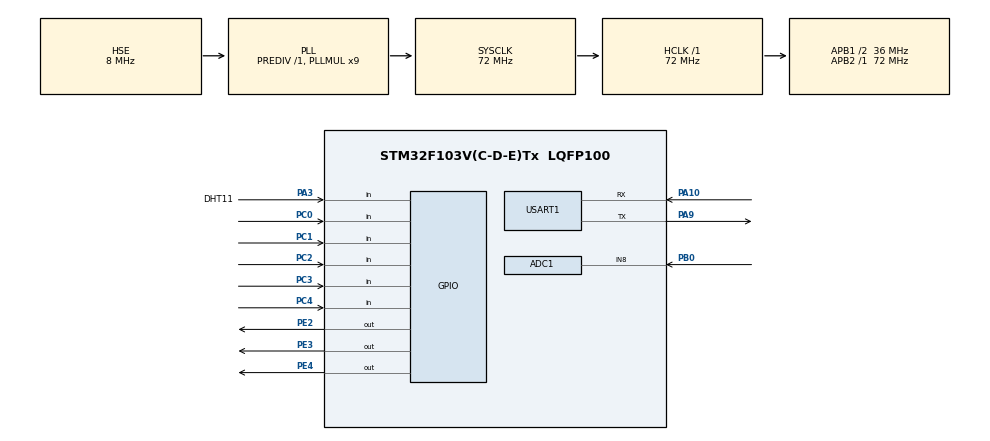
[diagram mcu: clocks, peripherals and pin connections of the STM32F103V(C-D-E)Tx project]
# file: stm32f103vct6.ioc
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ADC1.Channel-0\#ChannelRegularConversion=ADC_CHANNEL_8
ADC1.NbrOfConversionFlag=1
ADC1.Rank-0\#ChannelRegularConversion=1
ADC1.SamplingTime-0\#ChannelRegularConversion=ADC_SAMPLETIME_1CYCLE_5
ADC1.master=1
Dma.ADC1.0.Direction=DMA_PERIPH_TO_MEMORY
Dma.ADC1.0.Instance=DMA1_Channel1
Dma.ADC1.0.MemDataAlignment=DMA_MDATAALIGN_WORD
Dma.ADC1.0.MemInc=DMA_MINC_ENABLE
Dma.ADC1.0.Mode=DMA_CIRCULAR
Dma.ADC1.0.PeriphDataAlignment=DMA_PDATAALIGN_WORD
Dma.ADC1.0.PeriphInc=DMA_PINC_DISABLE
Dma.ADC1.0.Priority=DMA_PRIORITY_LOW
Dma.Request0=ADC1
Mcu.Family=STM32F1
Mcu.Name=STM32F103V(C-D-E)Tx
Mcu.Package=LQFP100
NVIC.DMA1_Channel1_IRQn=true\:0\:0\:false\:false\:true\:false\:true\:true
NVIC.PriorityGroup=NVIC_PRIORITYGROUP_4
NVIC.USART1_IRQn=true\:0\:0\:false\:false\:true\:true\:true\:true
OSC_IN.Mode=HSE-External-Oscillator
OSC_IN.Signal=RCC_OSC_IN
OSC_OUT.Mode=HSE-External-Oscillator
OSC_OUT.Signal=RCC_OSC_OUT
PA10.Mode=Asynchronous
PA10.Signal=USART1_RX
PA3.GPIO_Label=DHT11
PA3.Signal=GPIO_Input
PA9.Mode=Asynchronous
PA9.Signal=USART1_TX
PB0.Signal=ADCx_IN8
PC0.Signal=GPIO_Input
PC1.Signal=GPIO_Input
PC2.Signal=GPIO_Input
PC3.Signal=GPIO_Input
PC4.Signal=GPIO_Input
PE2.Signal=GPIO_Output
PE3.Signal=GPIO_Output
PE4.Signal=GPIO_Output
ProjectManager.HeapSize=0x200
ProjectManager.StackSize=0x400
ProjectManager.TargetToolchain=STM32CubeIDE
RCC.ADCPresc=RCC_ADCPCLK2_DIV6
RCC.AHBFreq_Value=72000000
RCC.APB1CLKDivider=RCC_HCLK_DIV2
RCC.APB1Freq_Value=36000000
RCC.APB1TimFreq_Value=72000000
RCC.APB2Freq_Value=72000000
RCC.APB2TimFreq_Value=72000000
RCC.HCLKFreq_Value=72000000
RCC.PLLMUL=RCC_PLL_MUL9
RCC.PLLSourceVirtual=RCC_PLLSOURCE_HSE
RCC.SYSCLKFreq_VALUE=72000000
RCC.SYSCLKSource=RCC_SYSCLKSOURCE_PLLCLK
RCC.USBFreq_Value=72000000
SH.ADCx_IN8.0=ADC1_IN8,IN8
TIM6.Period=60000
TIM6.Prescaler=72
USART1.VirtualMode=VM_ASYNC
VP_SYS_VS_ND.Mode=No_Debug
VP_TIM6_VS_ClockSourceINT.Mode=Enable_Timer
board=custom

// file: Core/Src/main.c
/* USER CODE BEGIN Header */
/**
  ******************************************************************************
  * @file           : main.c
  * @brief          : Main program body
  ******************************************************************************
  * @attention
  *
  * Copyright (c) 2025 STMicroelectronics.
  * All rights reserved.
  *
  * This software is licensed under terms that can be found in the LICENSE file
  * in the root directory of this software component.
  * If no LICENSE file comes with this software, it is provided AS-IS.
  *
  ******************************************************************************
  */
/* USER CODE END Header */
#include "main.h"
#include "adc.h"
#include "dma.h"
#include "tim.h"
#include "usart.h"
#include "gpio.h"

/* USER CODE BEGIN Includes */
#include "stdio.h"
#include "string.h"

#include "dht11.h"
/* USER CODE END Includes */

/* USER CODE BEGIN PV */

uint8_t Rx_Data[2];
uint8_t Rx_Buffer[20];
uint8_t USART1_len=0;
uint8_t USART1_rx_end=0;

extern DHT_DataTypedef DHT11_Data;
float Temperature;
float Humidity;

float Temp=0, Humi=0;

uint8_t Sensing_Finish = 0;

/* USER CODE END PV */

void SystemClock_Config(void);
/* USER CODE BEGIN PFP */

void Read_dht11(void);

/* USER CODE END PFP */

/* USER CODE BEGIN 0 */

int _write(int file, unsigned char* p, int len)
{
   HAL_UART_Transmit(&huart1, p, len, 10);
   return len;
}
#ifdef __GNUC__
#define PUTCHAR_PROTOTYPE int __io_putchar(int ch)
#else
#define PUTCHAR_PROTOTYPE int fputc(int ch, FILE *f)  //for printf
#endif
PUTCHAR_PROTOTYPE
{

  HAL_UART_Transmit(&huart1, (uint8_t *)&ch, 1, 0xFFFF);
  return ch;
}

/* USER CODE END 0 */

int main(void)
{

  /* MCU Configuration--------------------------------------------------------*/

  /* Reset of all peripherals, Initializes the Flash interface and the Systick. */
  HAL_Init();

  /* Configure the system clock */
  SystemClock_Config();

  /* Initialize all configured peripherals */
  MX_GPIO_Init();
  MX_DMA_Init();
  MX_USART1_UART_Init();
  MX_ADC1_Init();
  MX_TIM6_Init();
  /* USER CODE BEGIN 2 */

  setvbuf(stdout, NULL, _IONBF, 0);
  HAL_TIM_Base_Start_IT(&htim6);

  /* USER CODE END 2 */

  /* Infinite loop */
  /* USER CODE BEGIN WHILE */
  while (1)
  {
	  DHT_GetData(&DHT11_Data);
	  Temperature = DHT11_Data.Temperature;
	  Humidity = DHT11_Data.Humidity;
	  printf("T=%.1f, Humi=%.1f\n",Temperature,Humidity);
	  HAL_Delay(3000);

    /* USER CODE END WHILE */

  }
}

void SystemClock_Config(void)
{
  RCC_OscInitTypeDef RCC_OscInitStruct = {0};
  RCC_ClkInitTypeDef RCC_ClkInitStruct = {0};
  RCC_PeriphCLKInitTypeDef PeriphClkInit = {0};

  /** Initializes the RCC Oscillators according to the specified parameters
  * in the RCC_OscInitTypeDef structure.
  */
  RCC_OscInitStruct.OscillatorType = RCC_OSCILLATORTYPE_HSE;
  RCC_OscInitStruct.HSEState = RCC_HSE_ON;
  RCC_OscInitStruct.HSEPredivValue = RCC_HSE_PREDIV_DIV1;
  RCC_OscInitStruct.HSIState = RCC_HSI_ON;
  RCC_OscInitStruct.PLL.PLLState = RCC_PLL_ON;
  RCC_OscInitStruct.PLL.PLLSource = RCC_PLLSOURCE_HSE;
  RCC_OscInitStruct.PLL.PLLMUL = RCC_PLL_MUL9;
  if (HAL_RCC_OscConfig(&RCC_OscInitStruct) != HAL_OK)
  {
    Error_Handler();
  }

  /** Initializes the CPU, AHB and APB buses clocks
  */
  RCC_ClkInitStruct.ClockType = RCC_CLOCKTYPE_HCLK|RCC_CLOCKTYPE_SYSCLK
                              |RCC_CLOCKTYPE_PCLK1|RCC_CLOCKTYPE_PCLK2;
  RCC_ClkInitStruct.SYSCLKSource = RCC_SYSCLKSOURCE_PLLCLK;
  RCC_ClkInitStruct.AHBCLKDivider = RCC_SYSCLK_DIV1;
  RCC_ClkInitStruct.APB1CLKDivider = RCC_HCLK_DIV2;
  RCC_ClkInitStruct.APB2CLKDivider = RCC_HCLK_DIV1;

  if (HAL_RCC_ClockConfig(&RCC_ClkInitStruct, FLASH_LATENCY_2) != HAL_OK)
  {
    Error_Handler();
  }
  PeriphClkInit.PeriphClockSelection = RCC_PERIPHCLK_ADC;
  PeriphClkInit.AdcClockSelection = RCC_ADCPCLK2_DIV6;
  if (HAL_RCCEx_PeriphCLKConfig(&PeriphClkInit) != HAL_OK)
  {
    Error_Handler();
  }
}

/* USER CODE BEGIN 4 */

void HAL_UART_RxCpltCallback(UART_HandleTypeDef *huart)
{
  static uint8_t usart1_chk=0;
  if(huart -> Instance == USART1)
  {
      USART1_rx_end=0;
      switch(usart1_chk)
      {
          case 0:
            if(Rx_Data[0]==0x02){
               // Rx_Buffer[USART1_len]=Rx_Data[0];
               // USART1_len++;
                usart1_chk=1;
            }
            else usart1_chk=0;
            break;
          case 1:

            if(Rx_Data[0]==0x03){
              USART1_rx_end=1;
              usart1_chk=0;
            }
            else{
                 Rx_Buffer[USART1_len]=Rx_Data[0];
                USART1_len++;
            }
            break;
          default :
            usart1_chk=0;
            break;
      }
      HAL_UART_Receive_IT(&huart1, Rx_Data, 1);
  }
}

/* USER CODE END 4 */

void Error_Handler(void)
{
  __disable_irq();
  while (1)
  {
  }
}
